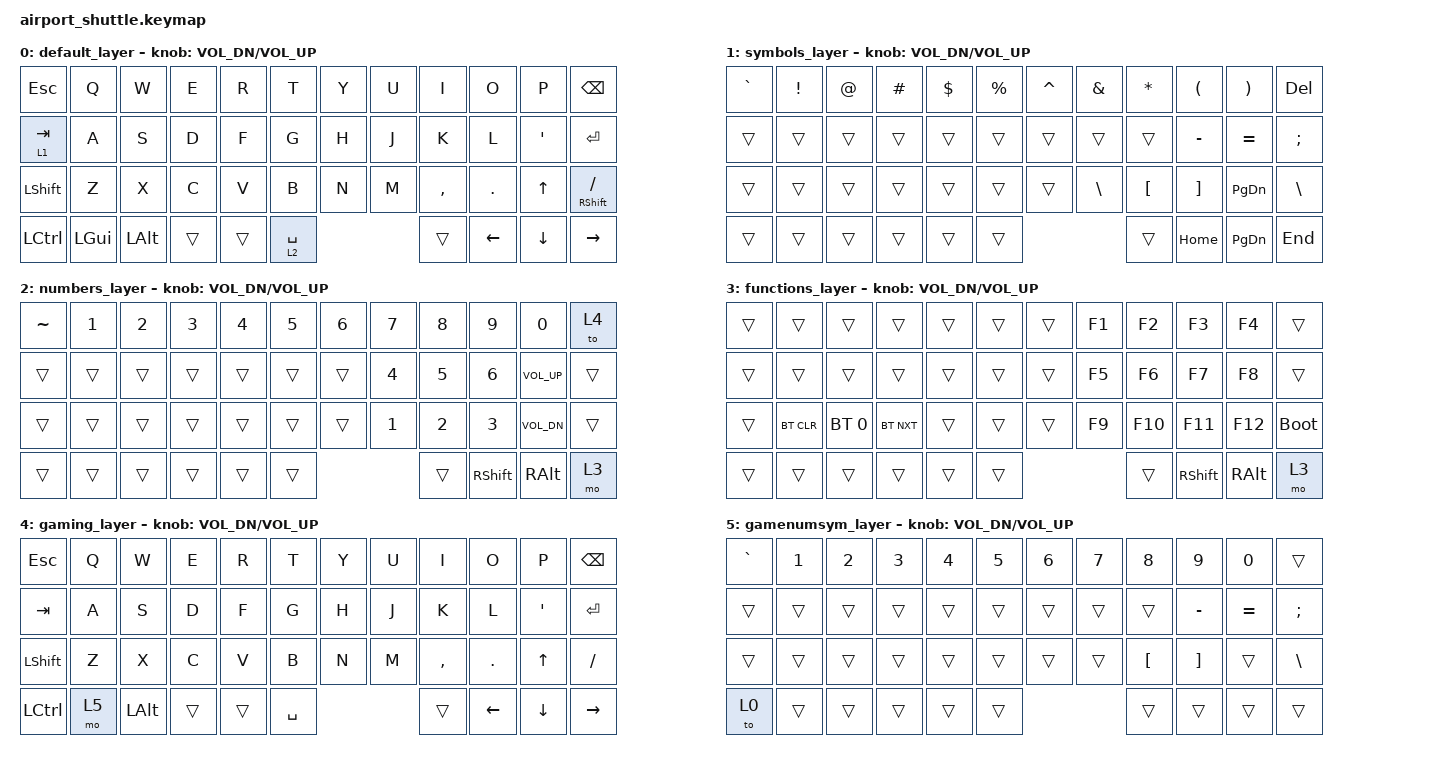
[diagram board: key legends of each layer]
#include <behaviors.dtsi>
#include <dt-bindings/zmk/keys.h>
#include <dt-bindings/zmk/bt.h>

/ {
  keymap {
    compatible = "zmk,keymap";

    default_layer {
      bindings = <
        &kp ESC   &kp Q    &kp W    &kp E  &kp R  &kp T   &kp Y   &kp U  &kp I    &kp O    &kp P    &kp BKSP
        &lt 1 TAB &kp A    &kp S    &kp D  &kp F  &kp G   &kp H   &kp J  &kp K    &kp L    &kp SQT  &kp RET
        &kp LSHFT &kp Z    &kp X    &kp C  &kp V  &kp B   &kp N   &kp M  &kp CMMA &kp DOT  &kp UP   &mt RSHFT SLASH
        &kp LCTRL &kp LGUI &kp LALT &trans &trans &lt 2 SPC              &trans   &kp LEFT &kp DOWN &kp RIGHT
      >;
      sensor-bindings = <&inc_dec_kp C_VOL_DN C_VOL_UP>;
    };

    symbols_layer {
      bindings = <
        &kp GRAVE &kp EXCL &kp AT &kp HASH &kp DLLR &kp PRCNT &kp CARET &kp AMPS &kp STAR  &kp LPAR   &kp RPAR  &kp DEL
        &trans    &trans   &trans &trans   &trans   &trans    &trans    &trans   &trans    &kp MINUS  &kp EQUAL &kp SEMI 
        &trans    &trans   &trans &trans   &trans   &trans    &trans    &kp BSLH &kp LBKT  &kp RBKT   &kp PG_DN &kp BSLH
        &trans    &trans   &trans &trans   &trans   &trans                       &trans    &kp HOME   &kp PG_DN &kp END
      >;
      sensor-bindings = <&inc_dec_kp C_VOL_DN C_VOL_UP>;
    };

    numbers_layer {
      bindings = <
        &kp TILDE &kp NUM_1 &kp NUM_2 &kp NUM_3 &kp NUM_4 &kp NUM_5 &kp NUM_6 &kp NUM_7 &kp NUM_8 &kp NUM_9 &kp NUM_0    &to 4
        &trans    &trans    &trans    &trans    &trans    &trans    &trans    &kp NUM_4 &kp NUM_5 &kp NUM_6 &kp C_VOL_UP &trans
        &trans    &trans    &trans    &trans    &trans    &trans    &trans    &kp NUM_1 &kp NUM_2 &kp NUM_3 &kp C_VOL_DN &trans
        &trans    &trans    &trans    &trans    &trans    &trans                        &trans    &kp RSHFT &kp RALT     &mo 3
      >;
      sensor-bindings = <&inc_dec_kp C_VOL_DN C_VOL_UP>;
    };

    functions_layer {
      bindings = <
        &trans &trans     &trans       &trans     &trans &trans &trans &kp F1    &kp F2   &kp F3    &kp F4   &trans
        &trans &trans     &trans       &trans     &trans &trans &trans &kp F5    &kp F6   &kp F7    &kp F8   &trans
        &trans &bt BT_CLR &bt BT_SEL 0 &bt BT_NXT &trans &trans &trans &kp F9    &kp F10  &kp F11   &kp F12  &bootloader
        &trans &trans     &trans       &trans     &trans &trans                  &trans   &kp RSHFT &kp RALT &mo 3
      >;
      sensor-bindings = <&inc_dec_kp C_VOL_DN C_VOL_UP>;
    };

    gaming_layer {
      bindings = <
        &kp ESC   &kp Q &kp W    &kp E  &kp R  &kp T   &kp Y &kp U &kp I    &kp O   &kp P    &kp BKSP
        &kp TAB   &kp A &kp S    &kp D  &kp F  &kp G   &kp H &kp J &kp K    &kp L   &kp SQT  &kp RET
        &kp LSHFT &kp Z &kp X    &kp C  &kp V  &kp B   &kp N &kp M &kp CMMA &kp DOT &kp UP   &kp SLASH
        &kp LCTRL &mo 5 &kp LALT &trans &trans &kp SPC                &trans   &kp LEFT &kp DOWN &kp RIGHT
      >;
      sensor-bindings = <&inc_dec_kp C_VOL_DN C_VOL_UP>;
    };

    gamenumsym_layer {
      bindings = <
      &kp GRAVE &kp NUM_1 &kp NUM_2 &kp NUM_3 &kp NUM_4 &kp NUM_5 &kp NUM_6 &kp NUM_7 &kp NUM_8 &kp NUM_9 &kp NUM_0 &trans
      &trans &trans &trans &trans &trans &trans &trans &trans &trans &kp MINUS &kp EQUAL &kp SEMI
      &trans &trans &trans &trans &trans &trans &trans &trans &kp LBKT &kp RBKT &trans &kp BSLH
      &to 0 &trans &trans &trans &trans &trans &trans &trans &trans &trans
      >;
      sensor-bindings = <&inc_dec_kp C_VOL_DN C_VOL_UP>;
    };
  };
};
